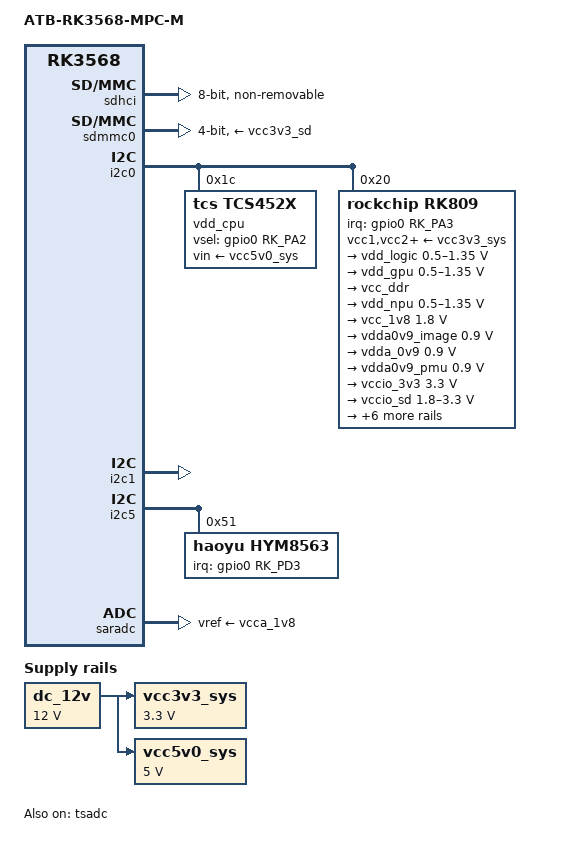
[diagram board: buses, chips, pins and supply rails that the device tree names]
/dts-v1/;
#include <dt-bindings/gpio/gpio.h>
#include <dt-bindings/leds/common.h>
#include <dt-bindings/pinctrl/rockchip.h>
#include "rk3568.dtsi"

#include "ethernet-mpc-m.dtsi"
#include "pcie3-mpc-m.dtsi"
#include "usb-pcie2-mpc-m.dtsi"
#include "wireless-mpc-m.dtsi"
#include "video-mpc-m.dtsi"
#include "gnss-mpc-m.dtsi"
#include "spi-mpc-m.dtsi"

/ {
	compatible = "atb,atb-rk3568-mpc-m", "rockchip,rk3568";

	model = "ATB-RK3568-MPC-M";

	aliases {
		ethernet0 = &gmac0;
		ethernet1 = &gmac1;
		mmc0 = &sdhci;
		mmc1 = &sdmmc0;
	};

	chosen: chosen {
		bootargs = "earlycon=uart8250,mmio32,0xfe660000 console=ttyFIQ0";
	};

	fiq-debugger {
		compatible = "rockchip,fiq-debugger";
		rockchip,serial-id = <2>;
		rockchip,wake-irq = <0>;
		/* If enable uart uses irq instead of fiq */
		rockchip,irq-mode-enable = <1>;
		rockchip,baudrate = <115200>;  /* Only 115200 and 1500000 */
		interrupts = <GIC_SPI 252 IRQ_TYPE_LEVEL_LOW>;
		pinctrl-names = "default";
		pinctrl-0 = <&uart2m0_xfer>;
		status = "okay";
	};

	dc_12v: dc-12v {
		compatible = "regulator-fixed";
		regulator-name = "dc_12v";
		regulator-always-on;
		regulator-boot-on;
		regulator-min-microvolt = <12000000>;
		regulator-max-microvolt = <12000000>;
	};

	vcc3v3_sys: vcc3v3-sys {
		compatible = "regulator-fixed";
		regulator-name = "vcc3v3_sys";
		regulator-always-on;
		regulator-boot-on;
		regulator-min-microvolt = <3300000>;
		regulator-max-microvolt = <3300000>;
		vin-supply = <&dc_12v>;
	};

	vcc5v0_sys: vcc5v0-sys {
		compatible = "regulator-fixed";
		regulator-name = "vcc5v0_sys";
		regulator-always-on;
		regulator-boot-on;
		regulator-min-microvolt = <5000000>;
		regulator-max-microvolt = <5000000>;
		vin-supply = <&dc_12v>;
	};
};

&cpu0 {
	cpu-supply = <&vdd_cpu>;
};

&cpu1 {
	cpu-supply = <&vdd_cpu>;
};

&cpu2 {
	cpu-supply = <&vdd_cpu>;
};

&cpu3 {
	cpu-supply = <&vdd_cpu>;
};

/*
 *	There are 10 independent IO domains in RK3566/RK3568, including PMUIO[0:2] and VCCIO[1:7].
 *	1/ PMUIO0 and PMUIO1 are fixed-level power domains which cannot be configured;
 *	2/ PMUIO2 and VCCIO1,VCCIO[3:7] domains require that their hardware power supply voltages
 *		must be consistent with the software configuration correspondingly
 *		a/ When the hardware IO level is connected to 1.8V, the software voltage configuration
 *			should also be configured to 1.8V accordingly;
 *		b/ When the hardware IO level is connected to 3.3V, the software voltage configuration
 *			should also be configured to 3.3V accordingly;
 *	3/ VCCIO2 voltage control selection (0xFDC20140)
 *	BIT[0]: 0x0: from GPIO_0A7 (default)
 *	BIT[0]: 0x1: from GRF
 *	Default is determined by Pin FLASH_VOL_SEL/GPIO0_A7:
 *	L:VCCIO2 must supply 3.3V
 *	H:VCCIO2 must supply 1.8V
 */
&pmu_io_domains {
	pmuio1-supply = <&vcc3v3_pmu>;	// 3.3V_VCC_PMU
	pmuio2-supply = <&vcc3v3_pmu>;	// 3.3V_VCC_PMU
	vccio1-supply = <&vccio_3v3>;	// 3.3V_VCCIO
	vccio2-supply = <&vcc_3v3>;		// 1.8V_VCC
	vccio3-supply = <&vccio_sd>;	// 3.3V_VCCIO_SD
	vccio4-supply = <&vcc_1v8>;		// 1.8V_VCC
	vccio5-supply = <&vcc_3v3>;		// 3.3V_VCC
	vccio6-supply = <&vcc_1v8>;		// 1.8V_VCC
	vccio7-supply = <&vcc_3v3>;		// 3.3V_VCC
	status = "okay";
};

/* EMMC0 - D11 */
&sdhci {
	bus-width = <8>;
	max-frequency = <200000000>;
	non-removable;
	pinctrl-names = "default";
	pinctrl-0 = <&emmc_bus8 &emmc_clk &emmc_cmd &emmc_datastrobe>;
	status = "okay";
};

/* SDMMC0 - X6 */
&sdmmc0 {
	max-frequency = <150000000>;
	supports-sd;
	bus-width = <4>;
	cap-mmc-highspeed;
	cap-sd-highspeed;
	disable-wp;
	sd-uhs-sdr104;
	vmmc-supply = <&vcc3v3_sd>;
	vqmmc-supply = <&vccio_sd>;
	pinctrl-names = "default";
	pinctrl-0 = <&sdmmc0_bus4 &sdmmc0_clk &sdmmc0_cmd &sdmmc0_det>;
	status = "okay";
};

&i2c0 {
	pinctrl-0 = <&i2c0_xfer>;
	pinctrl-names = "default";

	status = "okay";

	// D6
	vdd_cpu: regulator@1c {
		compatible = "tcs,tcs452x";
		reg = <0x1c>;
//		PMIC_SLEEP_H
		vsel-gpios = <&gpio0 RK_PA2 GPIO_ACTIVE_HIGH>;
		fcs,suspend-voltage-selector = <1>;
		regulator-name = "vdd_cpu";
		regulator-always-on;
		regulator-boot-on;
		regulator-min-microvolt = <800000>;
		regulator-max-microvolt = <1150000>;
		regulator-ramp-delay = <2300>;
		vin-supply = <&vcc5v0_sys>;

		regulator-state-mem {
			regulator-off-in-suspend;
		};
	};

	// D4
	rk809: pmic@20 {
		compatible = "rockchip,rk809";
		reg = <0x20>;
		pinctrl-names = "default";
		pinctrl-0 = <&pmic_int_pin>;
		// PMIC_INT_L
		interrupt-parent = <&gpio0>;
		interrupts = <RK_PA3 IRQ_TYPE_LEVEL_LOW>;
		rockchip,system-power-controller;
		
		vcc1-supply = <&vcc3v3_sys>;
		vcc2-supply = <&vcc3v3_sys>;
		vcc3-supply = <&vcc3v3_sys>;
		vcc4-supply = <&vcc3v3_sys>;
		vcc5-supply = <&vcc3v3_sys>;
		vcc6-supply = <&vcc3v3_sys>;
		vcc7-supply = <&vcc3v3_sys>;
		vcc8-supply = <&vcc3v3_sys>;
		vcc9-supply = <&vcc3v3_sys>;
		wakeup-source;

		regulators {
			vdd_logic: DCDC_REG1 {
				regulator-name = "vdd_logic";
				regulator-always-on;
				regulator-boot-on;
				regulator-init-microvolt = <900000>;
				regulator-initial-mode = <0x2>;
				regulator-min-microvolt = <500000>;
				regulator-max-microvolt = <1350000>;
				regulator-ramp-delay = <6001>;

				regulator-state-mem {
					regulator-off-in-suspend;
				};
			};

			vdd_gpu: DCDC_REG2 {
				regulator-name = "vdd_gpu";
				regulator-always-on;
				regulator-init-microvolt = <900000>;
				regulator-initial-mode = <0x2>;
				regulator-min-microvolt = <500000>;
				regulator-max-microvolt = <1350000>;
				regulator-ramp-delay = <6001>;

				regulator-state-mem {
					regulator-off-in-suspend;
				};
			};

			vcc_ddr: DCDC_REG3 {
				regulator-name = "vcc_ddr";
				regulator-always-on;
				regulator-boot-on;
				regulator-initial-mode = <0x2>;

				regulator-state-mem {
					regulator-on-in-suspend;
				};
			};

			vdd_npu: DCDC_REG4 {
				regulator-name = "vdd_npu";
				regulator-init-microvolt = <900000>;
				regulator-initial-mode = <0x2>;
				regulator-min-microvolt = <500000>;
				regulator-max-microvolt = <1350000>;
				regulator-ramp-delay = <6001>;

				regulator-state-mem {
					regulator-off-in-suspend;
				};
			};

			vcc_1v8: DCDC_REG5 {
				regulator-name = "vcc_1v8";
				regulator-always-on;
				regulator-boot-on;
				regulator-min-microvolt = <1800000>;
				regulator-max-microvolt = <1800000>;

				regulator-state-mem {
					regulator-off-in-suspend;
				};
			};

			vdda0v9_image: LDO_REG1 {
				regulator-boot-on;
				regulator-always-on;
				regulator-min-microvolt = <900000>;
				regulator-max-microvolt = <900000>;
				regulator-name = "vdda0v9_image";
				regulator-state-mem {
					regulator-off-in-suspend;
				};
			};
			
			vdda_0v9: LDO_REG2 {
				regulator-name = "vdda_0v9";
				regulator-always-on;
				regulator-boot-on;
				regulator-min-microvolt = <900000>;
				regulator-max-microvolt = <900000>;

				regulator-state-mem {
					regulator-off-in-suspend;
				};
			};

			vdda0v9_pmu: LDO_REG3 {
				regulator-name = "vdda0v9_pmu";
				regulator-always-on;
				regulator-boot-on;
				regulator-min-microvolt = <900000>;
				regulator-max-microvolt = <900000>;

				regulator-state-mem {
					regulator-on-in-suspend;
					regulator-suspend-microvolt = <900000>;
				};
			};

			vccio_3v3: LDO_REG4 {
				regulator-name = "vccio_3v3";
				regulator-always-on;
				regulator-min-microvolt = <3300000>;
				regulator-max-microvolt = <3300000>;

				regulator-state-mem {
					regulator-off-in-suspend;
				};
			};

			vccio_sd: LDO_REG5 {
				regulator-name = "vccio_sd";
				regulator-always-on;
				regulator-boot-on;
				regulator-min-microvolt = <1800000>;
				regulator-max-microvolt = <3300000>;

				regulator-state-mem {
					regulator-off-in-suspend;
				};
			};

			vcc3v3_pmu: LDO_REG6 {
				regulator-name = "vcc3v3_pmu";
				regulator-always-on;
				regulator-boot-on;
				regulator-min-microvolt = <3300000>;
				regulator-max-microvolt = <3300000>;

				regulator-state-mem {
					regulator-on-in-suspend;
					regulator-suspend-microvolt = <3300000>;
				};
			};

			vcca_1v8: LDO_REG7 {
				regulator-name = "vcca_1v8";
				regulator-always-on;
				regulator-boot-on;
				regulator-min-microvolt = <1800000>;
				regulator-max-microvolt = <1800000>;

				regulator-state-mem {
					regulator-off-in-suspend;
				};
			};

			vcca1v8_pmu: LDO_REG8 {
				regulator-name = "vcca1v8_pmu";
				regulator-always-on;
				regulator-boot-on;
				regulator-min-microvolt = <1800000>;
				regulator-max-microvolt = <1800000>;

				regulator-state-mem {
					regulator-on-in-suspend;
					regulator-suspend-microvolt = <1800000>;
				};
			};

			vcca1v8_image: LDO_REG9 {
				regulator-always-on;
				regulator-boot-on;
				regulator-min-microvolt = <1800000>;
				regulator-max-microvolt = <1800000>;
				regulator-name = "vcca1v8_image";
				regulator-state-mem {
					regulator-off-in-suspend;
				};
			};

			vcc_3v3: SWITCH_REG1 {
				regulator-name = "vcc_3v3";
				regulator-always-on;
				regulator-boot-on;

				regulator-state-mem {
					regulator-off-in-suspend;
				};
			};

			vcc3v3_sd: SWITCH_REG2 {
				regulator-name = "vcc3v3_sd";
				regulator-always-on;
				regulator-boot-on;
				regulator-state-mem {
					regulator-off-in-suspend;
				};
			};
		};
	};
};

// mPCIe_I2C
&i2c1 {
	pinctrl-0 = <&i2c1_xfer>;
	pinctrl-names = "default";
	status = "okay";
};

// RTC_I2C5
&i2c5 {
	pinctrl-0 = <&i2c5m0_xfer>;
	pinctrl-names = "default";
	status = "okay";

	// D18
	hym8563: rtc@51 {
		compatible = "haoyu,hym8563";
		reg = <0x51>;
		interrupt-parent = <&gpio0>;
		interrupts = <RK_PD3 IRQ_TYPE_EDGE_FALLING>;
		#clock-cells = <0>;
		clock-output-names = "rtc_32khz";
		pinctrl-names = "default";
		// RTC_INT#
		pinctrl-0 = <&rtc_int_pin>;
		wakeup-source;

		rtc_clock: rtc_clock {
			compatible = "fixed-clock";
			#clock-cells = <0>;
			clock-frequency = <32768>;
		};
	};
};

&saradc {
	vref-supply = <&vcca_1v8>;
	status = "okay";
};

&tsadc {
	status = "okay";
};

&pinctrl {
	pmic {
		pmic_int_pin: pmic-int-pin {
			// PMIC_INT_L
			rockchip,pins = <0 RK_PA3 RK_FUNC_GPIO &pcfg_pull_up>;
		};
	};
	rtc {
		rtc_int_pin: rtc-int-pin {
			// RTC_INT#
			rockchip,pins = <0 RK_PD3 RK_FUNC_GPIO &pcfg_pull_up>;
		};
	};
};
